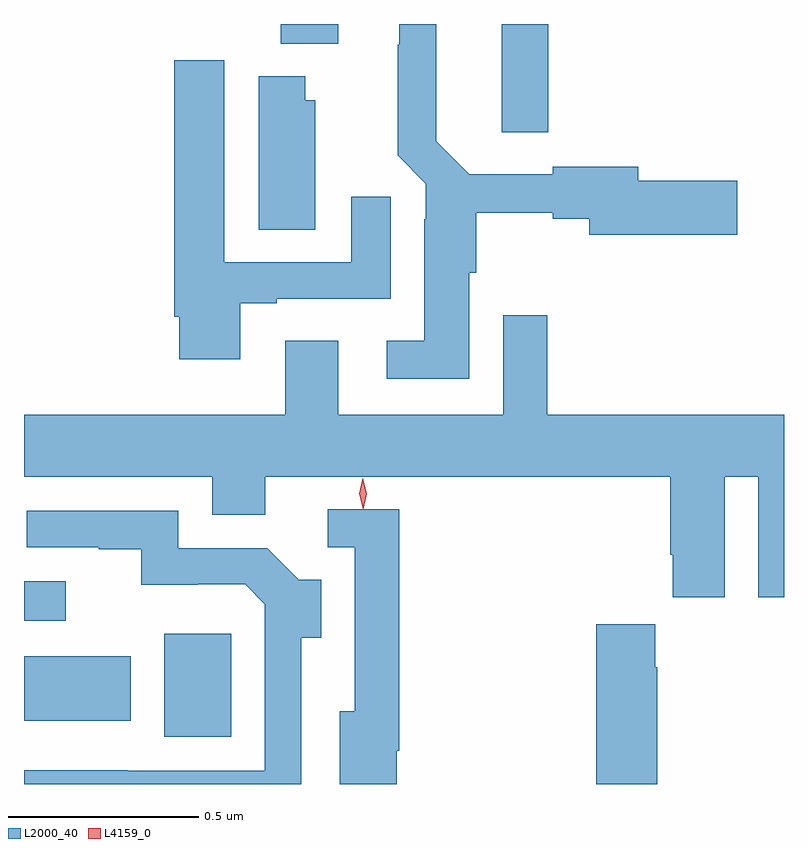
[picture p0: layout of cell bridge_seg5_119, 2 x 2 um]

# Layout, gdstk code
import gdstk
lib = gdstk.Library(unit=1e-6, precision=1e-09)
def R(c, l, rs):  # rectangles x0, y0, x1, y1
    for r in rs: c.add(gdstk.rectangle(r[:2], r[2:], *l))
def P(c, l, *ps):  # polygons
    for p in ps: c.add(gdstk.Polygon(p, *l))
L2000_40 = (2000, 40)
L4159_0 = (4159, 0)

bridge_seg5_119 = lib.new_cell('bridge_seg5_119')
R(bridge_seg5_119, L2000_40, [(438.395,866.732,438.571,867.003), (438.026,866.774,438.307,866.944), (438.026,867.038,438.136,867.142), (439.283,868.323,439.406,868.608), (438.701,868.556,438.853,868.608)])
P(bridge_seg5_119, L2000_40, [(439.198,867.954),(439.216,867.954),(439.216,868.111),(439.418,868.111),(439.418,868.096),(439.514,868.096),(439.514,868.054),(439.903,868.054),(439.903,868.196),(439.642,868.196),(439.642,868.232),(439.418,868.232),(439.418,868.212),(439.198,868.212),(439.111,868.3),(439.111,868.608),(439.013,868.608),(439.013,868.553),(439.009,868.553),(439.009,868.262),(439.083,868.188),(439.083,868.094),(439.079,868.094),(439.079,867.775),(438.981,867.775),(438.981,867.674),(439.198,867.674)],
  [(438.595,867.873),(438.691,867.873),(438.691,867.885),(438.991,867.885),(438.991,868.153),(438.887,868.153),(438.887,867.981),(438.553,867.981),(438.553,868.513),(438.422,868.513),(438.422,867.838),(438.434,867.838),(438.434,867.726),(438.595,867.726)],
  [(438.793,868.407),(438.766,868.407),(438.766,868.471),(438.644,868.471),(438.644,868.066),(438.793,868.066)],
  [(439.87,867.416),(439.958,867.416),(439.958,867.099),(440.026,867.099),(440.026,867.58),(439.403,867.58),(439.403,867.841),(439.287,867.841),(439.287,867.58),(438.853,867.58),(438.853,867.775),(438.713,867.775),(438.713,867.58),(438.026,867.58),(438.026,867.416),(438.521,867.416),(438.521,867.317),(438.661,867.317),(438.661,867.416),(439.727,867.416),(439.727,867.211),(439.733,867.211),(439.733,867.099),(439.87,867.099)],
  [(439.007,866.696),(439.013,866.696),(439.013,867.331),(438.825,867.331),(438.825,867.231),(438.897,867.231),(438.897,866.8),(438.857,866.8),(438.857,866.608),(439.007,866.608)],
  [(438.756,866.993),(438.808,866.993),(438.808,867.145),(438.749,867.145),(438.666,867.228),(438.432,867.228),(438.432,867.327),(438.033,867.327),(438.033,867.231),(438.223,867.231),(438.223,867.226),(438.335,867.226),(438.335,867.132),(438.483,867.132),(438.483,867.134),(438.608,867.134),(438.66,867.081),(438.66,866.643),(438.299,866.643),(438.299,866.644),(438.026,866.644),(438.026,866.608),(438.756,866.608)],
  [(439.692,866.915),(439.687,866.915),(439.687,867.028),(439.532,867.028),(439.532,866.608),(439.692,866.608)])
P(bridge_seg5_119, L4159_0, [(438.919,867.331),(438.919,867.331),(438.908,867.372),(438.917,867.413),(438.918,867.413),(438.918,867.413),(438.928,867.372),(438.919,867.331)])

lib.write_gds('bridge_seg5_119.gds')
